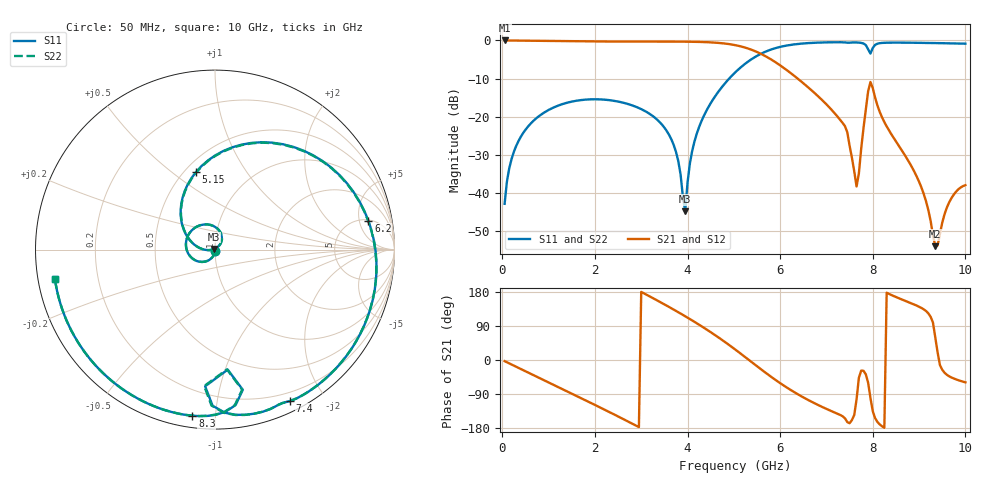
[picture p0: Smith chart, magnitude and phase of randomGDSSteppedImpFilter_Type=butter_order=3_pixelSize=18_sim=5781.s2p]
! freq	dB(S11)	phase(S11)	dB(S12)	phase(S12)
!  dB(S21)	phase(S21)	dB(S22)	phase(S22)
!S-par simulation data
#  GHz  S  DB  R 50
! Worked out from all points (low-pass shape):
!   200 points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, 50 MHz to 10 GHz, reference 50 ohm
!   highest |S21| = 0.00 dB at 50 MHz (marker M1); lowest = -54.0 dB at 9.35 GHz (marker M2)
!   |S21| within 3 dB of the highest: start of sweep to 5.496 GHz
!   lowest |S11| = -44.8 dB at 3.95 GHz (marker M3), VSWR 1.01, Z = 49.6 + j0.387 ohm
!   |S11| at or under -10 dB: start of sweep to 4.899 GHz
!   |S22| runs from -46.0 to -0.5 dB; largest |S21 - S12| = 0
!   S11 on the Smith chart (normalised r, x): 50 MHz: 1.00, -0.01; 5.15 GHz: 0.57, +0.61; 6.2 GHz: 5.16, +6.83; 7.4 GHz: 0.11, -1.61; 8.3 GHz: 0.06, -0.87; 10 GHz: 0.05, -0.09
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0.05  -42.84 -91.7  -0.00 -3.0  -0.00 -3.0  -42.86 -92.0
0.5  -23.43 -120.0  -0.06 -29.7  -0.06 -29.7  -23.43 -120.1
1.75  -15.57 165.7  -0.25 -103.6  -0.25 -103.6  -15.57 165.4
2.65  -16.45 111.4  -0.29 -158.2  -0.29 -158.2  -16.45 110.8
3.4  -21.44 64.5  -0.30 153.5  -0.30 153.5  -21.44 63.4
3.75  -29.19 45.2  -0.31 129.6  -0.31 129.6  -29.20 43.2
3.95  -44.83 137.1  -0.32 115.4  -0.32 115.4  -46.02 139.3
4.05  -32.33 -175.5  -0.34 108.1  -0.34 108.1  -32.41 -174.1
4.25  -22.70 177.1  -0.39 93.1  -0.39 93.1  -22.72 177.2
5.05  -8.14 113.0  -1.28 25.9  -1.28 25.9  -8.14 112.5
5.15  -7.05 103.9  -1.56 16.6  -1.56 16.6  -7.05 103.4
5.65  -3.12 57.3  -3.91 -30.4  -3.91 -30.4  -3.12 56.7
6.2  -1.21 10.7  -8.30 -77.0  -8.30 -77.0  -1.22 10.2
6.7  -0.63 -23.9  -13.31 -111.5  -13.31 -111.5  -0.63 -24.3
7.4  -0.52 -63.7  -22.49 -153.9  -22.49 -153.9  -0.52 -64.0
7.65  -0.54 -76.3  -38.30 -103.7  -38.30 -103.7  -0.54 -76.7
7.95  -3.45 -84.0  -10.89 -100.4  -10.89 -100.4  -3.47 -84.3
8.3  -0.59 -97.8  -22.54 177.5  -22.54 177.5  -0.59 -98.1
8.35  -0.58 -100.2  -23.56 174.5  -23.56 174.5  -0.58 -100.5
9.05  -0.63 -129.9  -38.55 137.4  -38.55 137.4  -0.63 -130.1
9.35  -0.69 -142.1  -53.95 59.2  -53.95 59.2  -0.69 -142.3
10  -0.85 -169.5  -37.95 -59.0  -37.95 -59.0  -0.85 -169.7
